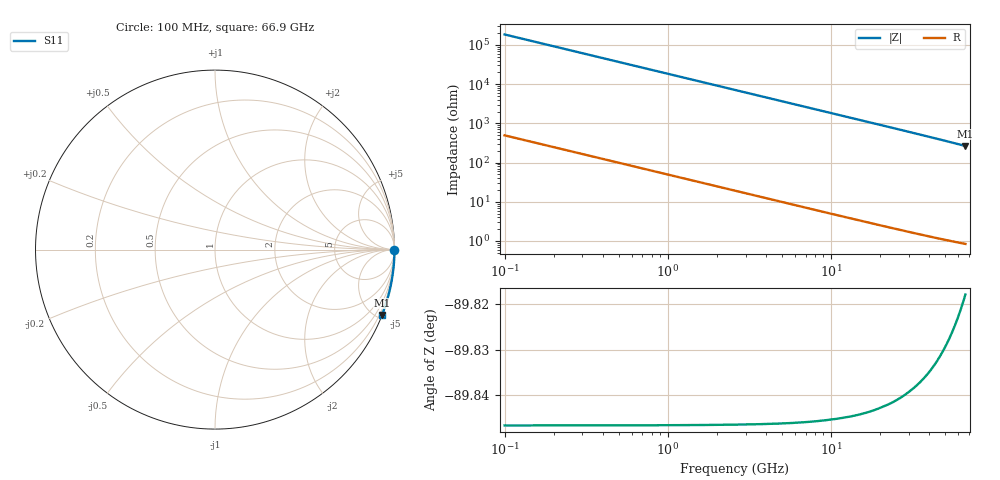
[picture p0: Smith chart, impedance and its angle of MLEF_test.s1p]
! Created with skrf (http://scikit-rf.org).
# Hz S RI R 50.0
!freq ReS11 ImS11
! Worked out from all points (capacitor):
!   669 points, 100 MHz to 66.9 GHz, reference 50 ohm
!   read as one part to ground: C = 8.61 fF near 400 MHz
!   lowest |Z| = 265 ohm at 66.9 GHz (marker M1)
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1e8  1 -0.000541
2e8  1 -0.00108
4e8  1 -0.00216
4.5e9  0.9996 -0.0243
8.5e9  0.9988 -0.046
1.27e10  0.9975 -0.0687
1.68e10  0.9956 -0.0909
2.1e10  0.9932 -0.1136
2.52e10  0.9903 -0.1364
2.94e10  0.9868 -0.1592
3.35e10  0.9829 -0.1814
3.77e10  0.9783 -0.2042
3.98e10  0.9758 -0.2156
4.19e10  0.9732 -0.2271
4.4e10  0.9704 -0.2385
4.61e10  0.9675 -0.2499
4.82e10  0.9644 -0.2614
5.02e10  0.9614 -0.2722
5.23e10  0.958 -0.2837
5.44e10  0.9545 -0.2952
5.65e10  0.9509 -0.3066
5.86e10  0.947 -0.3181
6.06e10  0.9433 -0.329
6.26e10  0.9393 -0.3399
6.46e10  0.9352 -0.3509
6.66e10  0.931 -0.3618
6.68e10  0.9306 -0.3629
6.69e10  0.9304 -0.3634
